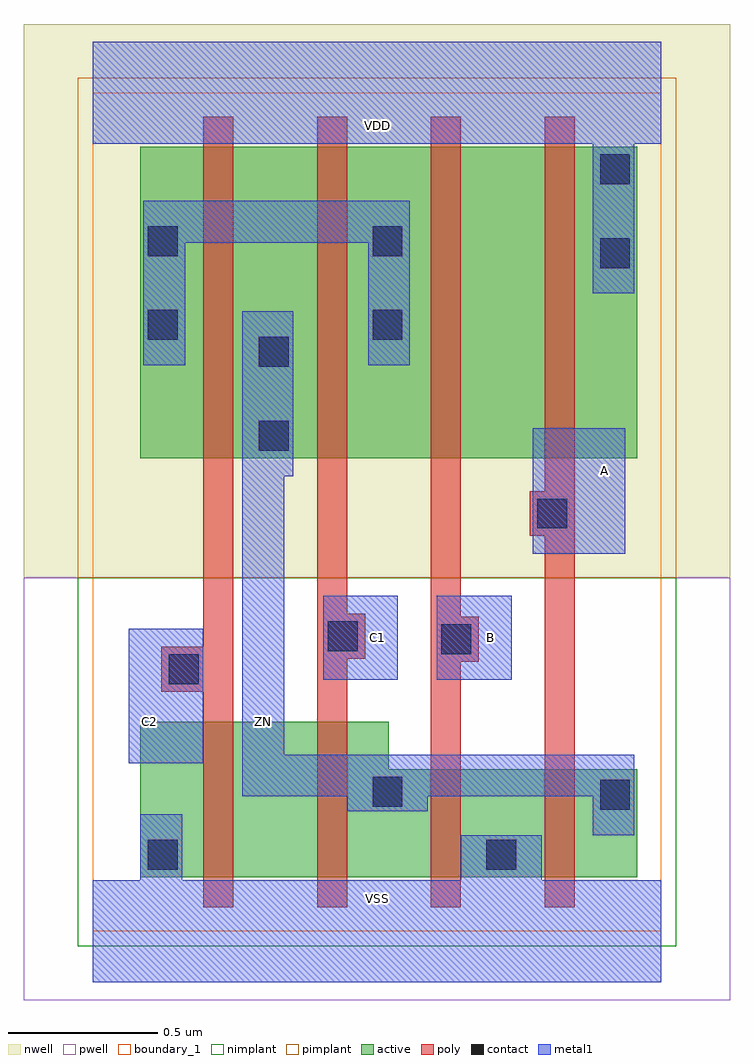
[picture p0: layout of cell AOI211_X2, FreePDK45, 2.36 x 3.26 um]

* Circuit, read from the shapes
.subckt AOI211_X2 A B C1 C2 VDD VSS ZN
M1 n1 C2 VSS VSUBS nfet w=0.52u l=0.1u
M2 ZN C1 n1 VSUBS nfet w=0.52u l=0.1u
M3 VSS B ZN VSUBS nfet w=0.36u l=0.1u
M4 ZN A VSS VSUBS nfet w=0.36u l=0.1u
M5 ZN C2 n2 n3 pfet w=1.04u l=0.1u
M6 n2 C1 ZN n3 pfet w=1.04u l=0.1u
M7 n4 B n2 n3 pfet w=1.04u l=0.1u
M8 VDD A n4 n3 pfet w=1.04u l=0.1u
.ends

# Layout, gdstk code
import gdstk
lib = gdstk.Library(unit=1e-6, precision=1e-09)
def R(c, l, rs):  # rectangles x0, y0, x1, y1
    for r in rs: c.add(gdstk.rectangle(r[:2], r[2:], *l))
def P(c, l, *ps):  # polygons
    for p in ps: c.add(gdstk.Polygon(p, *l))
active = (1, 0)
pwell = (2, 0)
nwell = (3, 0)
nimplant = (4, 0)
pimplant = (5, 0)
poly = (9, 0)
contact = (10, 0)
metal1 = (11, 0)
boundary_1 = (235, 1)

aoi211_x2 = lib.new_cell('AOI211_X2')
R(aoi211_x2, active, [(0.16,1.58,1.82,2.62)])
P(aoi211_x2, active, [(0.16,0.18),(1.82,0.18),(1.82,0.54),(0.99,0.54),(0.99,0.7),(0.16,0.7)])
R(aoi211_x2, pwell, [(-0.23,-0.23,2.13,1.18)])
R(aoi211_x2, nwell, [(-0.23,1.18,2.13,3.03)])
R(aoi211_x2, nimplant, [(-0.05,-0.05,1.95,1.18)])
R(aoi211_x2, pimplant, [(-0.05,1.18,1.95,2.85)])
P(aoi211_x2, poly, [(1.46,1.32),(1.51,1.32),(1.51,0.08),(1.61,0.08),(1.61,2.72),(1.51,2.72),(1.51,1.47),(1.46,1.47)],
  [(1.13,0.08),(1.23,0.08),(1.23,0.9),(1.29,0.9),(1.29,1.05),(1.23,1.05),(1.23,2.72),(1.13,2.72)],
  [(0.75,0.08),(0.85,0.08),(0.85,0.91),(0.91,0.91),(0.91,1.06),(0.85,1.06),(0.85,2.72),(0.75,2.72)],
  [(0.23,0.8),(0.37,0.8),(0.37,0.08),(0.47,0.08),(0.47,2.72),(0.37,2.72),(0.37,0.95),(0.23,0.95)])
R(aoi211_x2, contact, [(0.185,0.205,0.285,0.305), (1.315,0.205,1.415,0.305), (1.695,0.405,1.795,0.505), (0.935,0.415,1.035,0.515), (0.255,0.825,0.355,0.925), (1.165,0.925,1.265,1.025), (0.785,0.935,0.885,1.035), (1.485,1.345,1.585,1.445), (0.555,1.605,0.655,1.705), (0.555,1.885,0.655,1.985), (0.185,1.975,0.285,2.075), (0.935,1.975,1.035,2.075), (1.695,2.215,1.795,2.315), (0.185,2.255,0.285,2.355), (0.935,2.255,1.035,2.355), (1.695,2.495,1.795,2.595)])
R(aoi211_x2, metal1, [(0.12,0.56,0.37,1.01), (0.12,0.56,0.37,1.01), (0.77,0.84,1.02,1.12), (0.77,0.84,1.02,1.12), (1.15,0.84,1.4,1.12), (1.15,0.84,1.4,1.12), (1.47,1.26,1.78,1.68), (1.47,1.26,1.78,1.68)])
P(aoi211_x2, metal1, [(0.5,0.45),(0.85,0.45),(0.85,0.4),(1.12,0.4),(1.12,0.45),(1.67,0.45),(1.67,0.32),(1.81,0.32),(1.81,0.59),(0.64,0.59),(0.64,1.52),(0.67,1.52),(0.67,2.07),(0.5,2.07)],
  [(0,-0.17),(1.9,-0.17),(1.9,0.17),(1.5,0.17),(1.5,0.32),(1.23,0.32),(1.23,0.17),(0.3,0.17),(0.3,0.39),(0.16,0.39),(0.16,0.17),(0,0.17)],
  [(0,2.63),(1.67,2.63),(1.67,2.13),(1.81,2.13),(1.81,2.63),(1.9,2.63),(1.9,2.97),(0,2.97)],
  [(0,2.63),(1.67,2.63),(1.67,2.13),(1.81,2.13),(1.81,2.63),(1.9,2.63),(1.9,2.97),(0,2.97)],
  [(0,-0.17),(1.9,-0.17),(1.9,0.17),(1.5,0.17),(1.5,0.32),(1.23,0.32),(1.23,0.17),(0.3,0.17),(0.3,0.39),(0.16,0.39),(0.16,0.17),(0,0.17)],
  [(0.5,0.45),(0.85,0.45),(0.85,0.4),(1.12,0.4),(1.12,0.45),(1.67,0.45),(1.67,0.32),(1.81,0.32),(1.81,0.59),(0.64,0.59),(0.64,1.52),(0.67,1.52),(0.67,2.07),(0.5,2.07)],
  [(0.17,1.89),(0.31,1.89),(0.31,2.3),(0.92,2.3),(0.92,1.89),(1.06,1.89),(1.06,2.44),(0.17,2.44)])
R(aoi211_x2, boundary_1, [(0,0,1.9,2.8)])
aoi211_x2.add(gdstk.Label('ZN', (0.57,0.7), layer=11, texttype=0))
aoi211_x2.add(gdstk.Label('VSS', (0.95,0.11), layer=11, texttype=0))
aoi211_x2.add(gdstk.Label('VDD', (0.95,2.69), layer=11, texttype=0))
aoi211_x2.add(gdstk.Label('C2', (0.19,0.7), layer=11, texttype=0))
aoi211_x2.add(gdstk.Label('C1', (0.95,0.98), layer=11, texttype=0))
aoi211_x2.add(gdstk.Label('B', (1.33,0.98), layer=11, texttype=0))
aoi211_x2.add(gdstk.Label('A', (1.71,1.54), layer=11, texttype=0))

lib.write_gds('AOI211_X2.gds')
